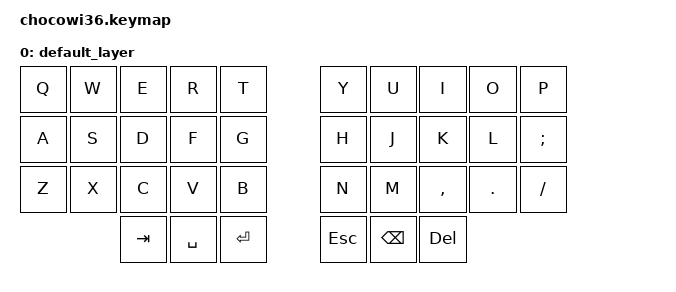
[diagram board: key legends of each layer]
/*
 * Copyright (c) 2020 The ZMK Contributors
 *
 * SPDX-License-Identifier: MIT
 */

#include "mouse.dtsi"
#include <behaviors.dtsi>
#include <dt-bindings/zmk/bt.h>
#include <dt-bindings/zmk/keys.h>
#include <dt-bindings/zmk/mouse.h>
#include <dt-bindings/zmk/outputs.h>
#include <dt-bindings/zmk/ext_power.h>

#define DEF 0

/ {
        keymap {
                compatible = "zmk,keymap";

                default_layer {
                        bindings = <
  &kp Q &kp W &kp E &kp R &kp T               &kp Y  &kp U  &kp I     &kp O   &kp P
  &kp A &kp S &kp D &kp F &kp G               &kp H  &kp J  &kp K     &kp L   &kp SEMI
  &kp Z &kp X &kp C &kp V &kp B               &kp N  &kp M  &kp COMMA &kp DOT &kp FSLH
        &kp TAB &kp SPACE &kp RET              &kp ESC &kp BSPC &kp DEL
                        >;
                };
                
        };
};
